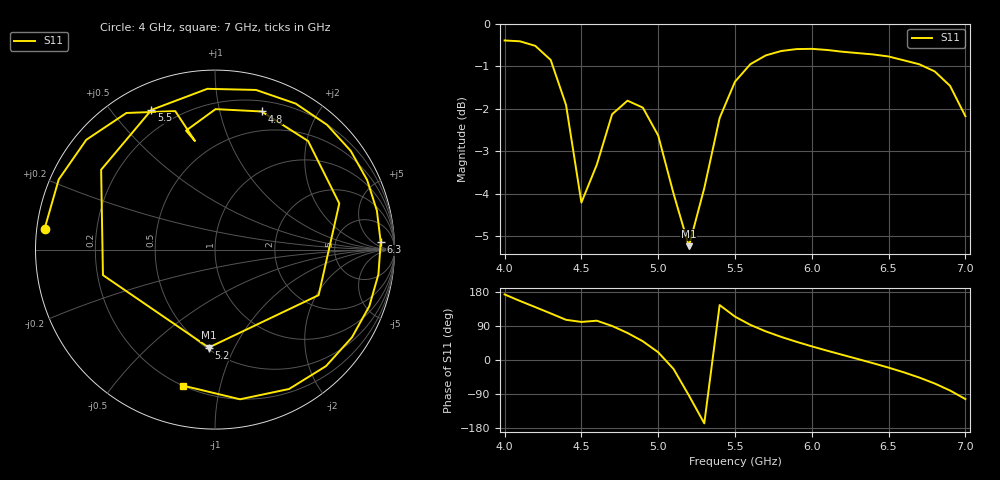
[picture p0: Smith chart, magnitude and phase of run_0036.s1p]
! Touchstone file exported from HFSS 2024.2.0
!  File:  C:/Users/wsak9/Desktop/Sim Fast/Widenad Patch/WP_AI_V1_sweep.aedt
!  Generated:  04:16:51 PM Oct 13, 2026
!  Design:  A1_model
!  Project:  WP_AI_V1_sweep
!  Setup:  Setup1
!  Solution:  Sweep
! Variables:
!  Air_gap = 2.04mm
!  Curve_Amp1 = 3.95
!  Curve_len1 = 1
!  Curve_pos = 11.695mm
!  Extra = 6.43mm
!  H_sub = 0.79mm
!  L_Patch = 19.39mm
!  L_Patch1 = 15.22mm
!  Sx = 1.5mm
!  Sy = 0.67mm
!  WS = 0.45mm
!  W_Patch = 21.55mm
!  W_Patch1 = 8.79mm
!Data is not renormalized
# GHz S MA
! Terminal data exported
! Port[1] = 1
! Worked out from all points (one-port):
!   31 points, 4 GHz to 7 GHz, reference per port
!   lowest |S11| = -5.2 dB at 5.2 GHz (marker M1), VSWR 3.41
!   |S11| at or under -10 dB: nowhere
!   S11 on the Smith chart (normalised r, x): 4 GHz: 0.02, +0.06; 4.8 GHz: 0.30, +1.35; 5.2 GHz: 0.51, -0.80; 5.5 GHz: 0.11, +0.64; 6.3 GHz: 19, +11; 7 GHz: 0.20, -0.77
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4  0.9566 173.0
4.1  0.9544 155.8
4.2  0.9426 139.5
4.3  0.9072 123.0
4.4  0.8028 106.0
4.5  0.6156 100.5
4.6  0.6822 103.7
4.7  0.7827 89.8
4.8  0.8121 71.4
4.9  0.7969 49.4
5  0.7387 20.4
5.1  0.6307 -23.7
5.2  0.5468 -93.7
5.3  0.6403 -167.2
5.4  0.7748 145.0
5.5  0.8552 114.5
5.6  0.8968 92.7
5.7  0.9184 75.6
5.8  0.9294 61.1
5.9  0.9343 48.1
6.1  0.9321 24.6
6.3  0.9242 2.6
6.5  0.9158 -20.1
6.6  0.9062 -32.6
6.7  0.8966 -46.4
6.8  0.8794 -62.0
6.9  0.8456 -80.5
7  0.7785 -103.1
